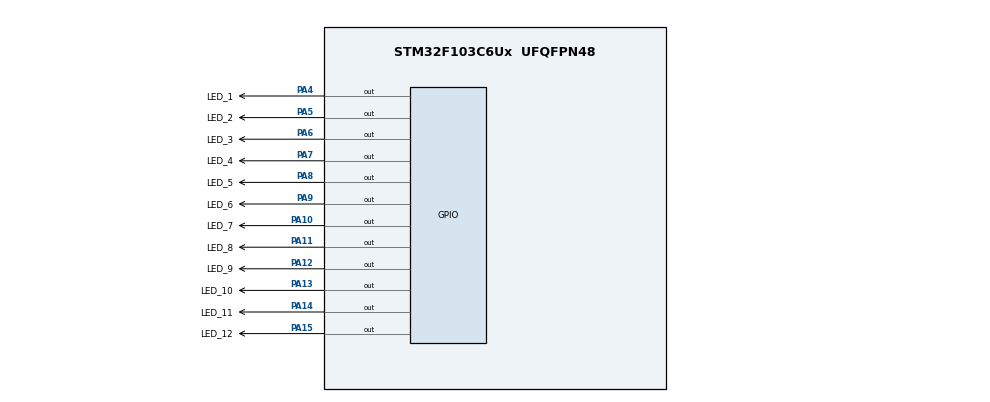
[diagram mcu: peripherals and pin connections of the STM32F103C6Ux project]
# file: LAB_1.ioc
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Mcu.Family=STM32F1
Mcu.Name=STM32F103C6Ux
Mcu.Package=UFQFPN48
NVIC.PriorityGroup=NVIC_PRIORITYGROUP_4
PA10.GPIO_Label=LED_7
PA10.Signal=GPIO_Output
PA11.GPIO_Label=LED_8
PA11.Signal=GPIO_Output
PA12.GPIO_Label=LED_9
PA12.Signal=GPIO_Output
PA13.GPIO_Label=LED_10
PA13.Signal=GPIO_Output
PA14.GPIO_Label=LED_11
PA14.Signal=GPIO_Output
PA15.GPIO_Label=LED_12
PA15.Signal=GPIO_Output
PA4.GPIO_Label=LED_1
PA4.Signal=GPIO_Output
PA5.GPIO_Label=LED_2
PA5.Signal=GPIO_Output
PA6.GPIO_Label=LED_3
PA6.Signal=GPIO_Output
PA7.GPIO_Label=LED_4
PA7.Signal=GPIO_Output
PA8.GPIO_Label=LED_5
PA8.Signal=GPIO_Output
PA9.GPIO_Label=LED_6
PA9.Signal=GPIO_Output
ProjectManager.HeapSize=0x200
ProjectManager.StackSize=0x400
ProjectManager.TargetToolchain=STM32CubeIDE
RCC.APB1Freq_Value=8000000
RCC.APB2Freq_Value=8000000
VP_SYS_VS_ND.Mode=No_Debug
board=custom

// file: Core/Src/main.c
/* USER CODE BEGIN Header */
/**
  ******************************************************************************
  * @file           : main.c
  * @brief          : Main program body
  ******************************************************************************
  * @attention
  *
  * <h2><center>&copy; Copyright (c) 2023 STMicroelectronics.
  * All rights reserved.</center></h2>
  *
  * This software component is licensed by ST under BSD 3-Clause license,
  * the "License"; You may not use this file except in compliance with the
  * License. You may obtain a copy of the License at:
  *                        opensource.org/licenses/BSD-3-Clause
  *
  ******************************************************************************
  */
/* USER CODE END Header */
#include "main.h"

void SystemClock_Config(void);
static void MX_GPIO_Init(void);

/* USER CODE BEGIN 0 */
void testLED(int num){
	// For ex6 only
	// this function is used for testing single led in a sequence
	switch (num){
		  case 1:
			  HAL_GPIO_WritePin(LED_1_GPIO_Port, LED_1_Pin, RESET);
			  HAL_GPIO_WritePin(LED_2_GPIO_Port, LED_2_Pin, SET);
			  HAL_GPIO_WritePin(LED_3_GPIO_Port, LED_3_Pin, SET);
			  HAL_GPIO_WritePin(LED_4_GPIO_Port, LED_4_Pin, SET);
			  HAL_GPIO_WritePin(LED_5_GPIO_Port, LED_5_Pin, SET);
			  HAL_GPIO_WritePin(LED_6_GPIO_Port, LED_6_Pin, SET);
			  HAL_GPIO_WritePin(LED_7_GPIO_Port, LED_7_Pin, SET);
			  HAL_GPIO_WritePin(LED_8_GPIO_Port, LED_8_Pin, SET);
			  HAL_GPIO_WritePin(LED_9_GPIO_Port, LED_9_Pin, SET);
			  HAL_GPIO_WritePin(LED_10_GPIO_Port, LED_10_Pin, SET);
			  HAL_GPIO_WritePin(LED_11_GPIO_Port, LED_11_Pin, SET);
			  HAL_GPIO_WritePin(LED_12_GPIO_Port, LED_12_Pin, SET);
			  break;
		  case 2:
			  HAL_GPIO_WritePin(LED_1_GPIO_Port, LED_1_Pin, SET);
			  HAL_GPIO_WritePin(LED_2_GPIO_Port, LED_2_Pin, RESET);
			  HAL_GPIO_WritePin(LED_3_GPIO_Port, LED_3_Pin, SET);
			  HAL_GPIO_WritePin(LED_4_GPIO_Port, LED_4_Pin, SET);
			  HAL_GPIO_WritePin(LED_5_GPIO_Port, LED_5_Pin, SET);
			  HAL_GPIO_WritePin(LED_6_GPIO_Port, LED_6_Pin, SET);
			  HAL_GPIO_WritePin(LED_7_GPIO_Port, LED_7_Pin, SET);
			  HAL_GPIO_WritePin(LED_8_GPIO_Port, LED_8_Pin, SET);
			  HAL_GPIO_WritePin(LED_9_GPIO_Port, LED_9_Pin, SET);
			  HAL_GPIO_WritePin(LED_10_GPIO_Port, LED_10_Pin, SET);
			  HAL_GPIO_WritePin(LED_11_GPIO_Port, LED_11_Pin, SET);
			  HAL_GPIO_WritePin(LED_12_GPIO_Port, LED_12_Pin, SET);
			  break;
		  case 3:
			  HAL_GPIO_WritePin(LED_1_GPIO_Port, LED_1_Pin, SET);
			  HAL_GPIO_WritePin(LED_2_GPIO_Port, LED_2_Pin, SET);
			  HAL_GPIO_WritePin(LED_3_GPIO_Port, LED_3_Pin, RESET);
			  HAL_GPIO_WritePin(LED_4_GPIO_Port, LED_4_Pin, SET);
			  HAL_GPIO_WritePin(LED_5_GPIO_Port, LED_5_Pin, SET);
			  HAL_GPIO_WritePin(LED_6_GPIO_Port, LED_6_Pin, SET);
			  HAL_GPIO_WritePin(LED_7_GPIO_Port, LED_7_Pin, SET);
			  HAL_GPIO_WritePin(LED_8_GPIO_Port, LED_8_Pin, SET);
			  HAL_GPIO_WritePin(LED_9_GPIO_Port, LED_9_Pin, SET);
			  HAL_GPIO_WritePin(LED_10_GPIO_Port, LED_10_Pin, SET);
			  HAL_GPIO_WritePin(LED_11_GPIO_Port, LED_11_Pin, SET);
			  HAL_GPIO_WritePin(LED_12_GPIO_Port, LED_12_Pin, SET);
			  break;
		  case 4:
			  HAL_GPIO_WritePin(LED_1_GPIO_Port, LED_1_Pin, SET);
			  HAL_GPIO_WritePin(LED_2_GPIO_Port, LED_2_Pin, SET);
			  HAL_GPIO_WritePin(LED_3_GPIO_Port, LED_3_Pin, SET);
			  HAL_GPIO_WritePin(LED_4_GPIO_Port, LED_4_Pin, RESET);
			  HAL_GPIO_WritePin(LED_5_GPIO_Port, LED_5_Pin, SET);
			  HAL_GPIO_WritePin(LED_6_GPIO_Port, LED_6_Pin, SET);
			  HAL_GPIO_WritePin(LED_7_GPIO_Port, LED_7_Pin, SET);
			  HAL_GPIO_WritePin(LED_8_GPIO_Port, LED_8_Pin, SET);
			  HAL_GPIO_WritePin(LED_9_GPIO_Port, LED_9_Pin, SET);
			  HAL_GPIO_WritePin(LED_10_GPIO_Port, LED_10_Pin, SET);
			  HAL_GPIO_WritePin(LED_11_GPIO_Port, LED_11_Pin, SET);
			  HAL_GPIO_WritePin(LED_12_GPIO_Port, LED_12_Pin, SET);
			  break;
		  case 5:
			  HAL_GPIO_WritePin(LED_1_GPIO_Port, LED_1_Pin, SET);
			  HAL_GPIO_WritePin(LED_2_GPIO_Port, LED_2_Pin, SET);
			  HAL_GPIO_WritePin(LED_3_GPIO_Port, LED_3_Pin, SET);
			  HAL_GPIO_WritePin(LED_4_GPIO_Port, LED_4_Pin, SET);
			  HAL_GPIO_WritePin(LED_5_GPIO_Port, LED_5_Pin, RESET);
			  HAL_GPIO_WritePin(LED_6_GPIO_Port, LED_6_Pin, SET);
			  HAL_GPIO_WritePin(LED_7_GPIO_Port, LED_7_Pin, SET);
			  HAL_GPIO_WritePin(LED_8_GPIO_Port, LED_8_Pin, SET);
			  HAL_GPIO_WritePin(LED_9_GPIO_Port, LED_9_Pin, SET);
			  HAL_GPIO_WritePin(LED_10_GPIO_Port, LED_10_Pin, SET);
			  HAL_GPIO_WritePin(LED_11_GPIO_Port, LED_11_Pin, SET);
			  HAL_GPIO_WritePin(LED_12_GPIO_Port, LED_12_Pin, SET);
			  break;
		  case 6:
			  HAL_GPIO_WritePin(LED_1_GPIO_Port, LED_1_Pin, SET);
			  HAL_GPIO_WritePin(LED_2_GPIO_Port, LED_2_Pin, SET);
			  HAL_GPIO_WritePin(LED_3_GPIO_Port, LED_3_Pin, SET);
			  HAL_GPIO_WritePin(LED_4_GPIO_Port, LED_4_Pin, SET);
			  HAL_GPIO_WritePin(LED_5_GPIO_Port, LED_5_Pin, SET);
			  HAL_GPIO_WritePin(LED_6_GPIO_Port, LED_6_Pin, RESET);
			  HAL_GPIO_WritePin(LED_7_GPIO_Port, LED_7_Pin, SET);
			  HAL_GPIO_WritePin(LED_8_GPIO_Port, LED_8_Pin, SET);
			  HAL_GPIO_WritePin(LED_9_GPIO_Port, LED_9_Pin, SET);
			  HAL_GPIO_WritePin(LED_10_GPIO_Port, LED_10_Pin, SET);
			  HAL_GPIO_WritePin(LED_11_GPIO_Port, LED_11_Pin, SET);
			  HAL_GPIO_WritePin(LED_12_GPIO_Port, LED_12_Pin, SET);
			  break;
		  case 7:
			  HAL_GPIO_WritePin(LED_1_GPIO_Port, LED_1_Pin, SET);
			  HAL_GPIO_WritePin(LED_2_GPIO_Port, LED_2_Pin, SET);
			  HAL_GPIO_WritePin(LED_3_GPIO_Port, LED_3_Pin, SET);
			  HAL_GPIO_WritePin(LED_4_GPIO_Port, LED_4_Pin, SET);
			  HAL_GPIO_WritePin(LED_5_GPIO_Port, LED_5_Pin, SET);
			  HAL_GPIO_WritePin(LED_6_GPIO_Port, LED_6_Pin, SET);
			  HAL_GPIO_WritePin(LED_7_GPIO_Port, LED_7_Pin, RESET);
			  HAL_GPIO_WritePin(LED_8_GPIO_Port, LED_8_Pin, SET);
			  HAL_GPIO_WritePin(LED_9_GPIO_Port, LED_9_Pin, SET);
			  HAL_GPIO_WritePin(LED_10_GPIO_Port, LED_10_Pin, SET);
			  HAL_GPIO_WritePin(LED_11_GPIO_Port, LED_11_Pin, SET);
			  HAL_GPIO_WritePin(LED_12_GPIO_Port, LED_12_Pin, SET);
			  break;
		  case 8:
			  HAL_GPIO_WritePin(LED_1_GPIO_Port, LED_1_Pin, SET);
			  HAL_GPIO_WritePin(LED_2_GPIO_Port, LED_2_Pin, SET);
			  HAL_GPIO_WritePin(LED_3_GPIO_Port, LED_3_Pin, SET);
			  HAL_GPIO_WritePin(LED_4_GPIO_Port, LED_4_Pin, SET);
			  HAL_GPIO_WritePin(LED_5_GPIO_Port, LED_5_Pin, SET);
			  HAL_GPIO_WritePin(LED_6_GPIO_Port, LED_6_Pin, SET);
			  HAL_GPIO_WritePin(LED_7_GPIO_Port, LED_7_Pin, SET);
			  HAL_GPIO_WritePin(LED_8_GPIO_Port, LED_8_Pin, RESET);
			  HAL_GPIO_WritePin(LED_9_GPIO_Port, LED_9_Pin, SET);
			  HAL_GPIO_WritePin(LED_10_GPIO_Port, LED_10_Pin, SET);
			  HAL_GPIO_WritePin(LED_11_GPIO_Port, LED_11_Pin, SET);
			  HAL_GPIO_WritePin(LED_12_GPIO_Port, LED_12_Pin, SET);
			  break;
		  case 9:
			  HAL_GPIO_WritePin(LED_1_GPIO_Port, LED_1_Pin, SET);
			  HAL_GPIO_WritePin(LED_2_GPIO_Port, LED_2_Pin, SET);
			  HAL_GPIO_WritePin(LED_3_GPIO_Port, LED_3_Pin, SET);
			  HAL_GPIO_WritePin(LED_4_GPIO_Port, LED_4_Pin, SET);
			  HAL_GPIO_WritePin(LED_5_GPIO_Port, LED_5_Pin, SET);
			  HAL_GPIO_WritePin(LED_6_GPIO_Port, LED_6_Pin, SET);
			  HAL_GPIO_WritePin(LED_7_GPIO_Port, LED_7_Pin, SET);
			  HAL_GPIO_WritePin(LED_8_GPIO_Port, LED_8_Pin, SET);
			  HAL_GPIO_WritePin(LED_9_GPIO_Port, LED_9_Pin, RESET);
			  HAL_GPIO_WritePin(LED_10_GPIO_Port, LED_10_Pin, SET);
			  HAL_GPIO_WritePin(LED_11_GPIO_Port, LED_11_Pin, SET);
			  HAL_GPIO_WritePin(LED_12_GPIO_Port, LED_12_Pin, SET);
			  break;
		  case 10:
			  HAL_GPIO_WritePin(LED_1_GPIO_Port, LED_1_Pin, SET);
			  HAL_GPIO_WritePin(LED_2_GPIO_Port, LED_2_Pin, SET);
			  HAL_GPIO_WritePin(LED_3_GPIO_Port, LED_3_Pin, SET);
			  HAL_GPIO_WritePin(LED_4_GPIO_Port, LED_4_Pin, SET);
			  HAL_GPIO_WritePin(LED_5_GPIO_Port, LED_5_Pin, SET);
			  HAL_GPIO_WritePin(LED_6_GPIO_Port, LED_6_Pin, SET);
			  HAL_GPIO_WritePin(LED_7_GPIO_Port, LED_7_Pin, SET);
			  HAL_GPIO_WritePin(LED_8_GPIO_Port, LED_8_Pin, SET);
			  HAL_GPIO_WritePin(LED_9_GPIO_Port, LED_9_Pin, SET);
			  HAL_GPIO_WritePin(LED_10_GPIO_Port, LED_10_Pin, RESET);
			  HAL_GPIO_WritePin(LED_11_GPIO_Port, LED_11_Pin, SET);
			  HAL_GPIO_WritePin(LED_12_GPIO_Port, LED_12_Pin, SET);
			  break;
		  case 11:
			  HAL_GPIO_WritePin(LED_1_GPIO_Port, LED_1_Pin, SET);
			  HAL_GPIO_WritePin(LED_2_GPIO_Port, LED_2_Pin, SET);
			  HAL_GPIO_WritePin(LED_3_GPIO_Port, LED_3_Pin, SET);
			  HAL_GPIO_WritePin(LED_4_GPIO_Port, LED_4_Pin, SET);
			  HAL_GPIO_WritePin(LED_5_GPIO_Port, LED_5_Pin, SET);
			  HAL_GPIO_WritePin(LED_6_GPIO_Port, LED_6_Pin, SET);
			  HAL_GPIO_WritePin(LED_7_GPIO_Port, LED_7_Pin, SET);
			  HAL_GPIO_WritePin(LED_8_GPIO_Port, LED_8_Pin, SET);
			  HAL_GPIO_WritePin(LED_9_GPIO_Port, LED_9_Pin, SET);
			  HAL_GPIO_WritePin(LED_10_GPIO_Port, LED_10_Pin, SET);
			  HAL_GPIO_WritePin(LED_11_GPIO_Port, LED_11_Pin, RESET);
			  HAL_GPIO_WritePin(LED_12_GPIO_Port, LED_12_Pin, SET);
			  break;
		  case 0:
			  HAL_GPIO_WritePin(LED_1_GPIO_Port, LED_1_Pin, SET);
			  HAL_GPIO_WritePin(LED_2_GPIO_Port, LED_2_Pin, SET);
			  HAL_GPIO_WritePin(LED_3_GPIO_Port, LED_3_Pin, SET);
			  HAL_GPIO_WritePin(LED_4_GPIO_Port, LED_4_Pin, SET);
			  HAL_GPIO_WritePin(LED_5_GPIO_Port, LED_5_Pin, SET);
			  HAL_GPIO_WritePin(LED_6_GPIO_Port, LED_6_Pin, SET);
			  HAL_GPIO_WritePin(LED_7_GPIO_Port, LED_7_Pin, SET);
			  HAL_GPIO_WritePin(LED_8_GPIO_Port, LED_8_Pin, SET);
			  HAL_GPIO_WritePin(LED_9_GPIO_Port, LED_9_Pin, SET);
			  HAL_GPIO_WritePin(LED_10_GPIO_Port, LED_10_Pin, SET);
			  HAL_GPIO_WritePin(LED_11_GPIO_Port, LED_11_Pin, SET);
			  HAL_GPIO_WritePin(LED_12_GPIO_Port, LED_12_Pin, RESET);
			  break;
		  default:
			  break;
		  }

}

void clearAllClock(){
	//For ex7
	HAL_GPIO_WritePin(LED_1_GPIO_Port, LED_1_Pin, SET);
	HAL_GPIO_WritePin(LED_2_GPIO_Port, LED_2_Pin, SET);
	HAL_GPIO_WritePin(LED_3_GPIO_Port, LED_3_Pin, SET);
	HAL_GPIO_WritePin(LED_4_GPIO_Port, LED_4_Pin, SET);
	HAL_GPIO_WritePin(LED_5_GPIO_Port, LED_5_Pin, SET);
	HAL_GPIO_WritePin(LED_6_GPIO_Port, LED_6_Pin, SET);
	HAL_GPIO_WritePin(LED_7_GPIO_Port, LED_7_Pin, SET);
	HAL_GPIO_WritePin(LED_8_GPIO_Port, LED_8_Pin, SET);
	HAL_GPIO_WritePin(LED_9_GPIO_Port, LED_9_Pin, SET);
	HAL_GPIO_WritePin(LED_10_GPIO_Port, LED_10_Pin, SET);
	HAL_GPIO_WritePin(LED_11_GPIO_Port, LED_11_Pin, SET);
	HAL_GPIO_WritePin(LED_12_GPIO_Port, LED_12_Pin, SET);
}

void setNumberOnClock(int num){
	// For ex8
	switch (num){
	case 1:
		HAL_GPIO_WritePin(LED_1_GPIO_Port, LED_1_Pin, RESET);
		break;
	case 2:
		HAL_GPIO_WritePin(LED_2_GPIO_Port, LED_2_Pin, RESET);
		break;
	case 3:
		HAL_GPIO_WritePin(LED_3_GPIO_Port, LED_3_Pin, RESET);
		break;
	case 4:
		HAL_GPIO_WritePin(LED_4_GPIO_Port, LED_4_Pin, RESET);
		break;
	case 5:
		HAL_GPIO_WritePin(LED_5_GPIO_Port, LED_5_Pin, RESET);
		break;
	case 6:
		HAL_GPIO_WritePin(LED_6_GPIO_Port, LED_6_Pin, RESET);
		break;
	case 7:
		HAL_GPIO_WritePin(LED_7_GPIO_Port, LED_7_Pin, RESET);
		break;
	case 8:
		HAL_GPIO_WritePin(LED_8_GPIO_Port, LED_8_Pin, RESET);
		break;
	case 9:
		HAL_GPIO_WritePin(LED_9_GPIO_Port, LED_9_Pin, RESET);
		break;
	case 10:
		HAL_GPIO_WritePin(LED_10_GPIO_Port, LED_10_Pin, RESET);
		break;
	case 11:
		HAL_GPIO_WritePin(LED_11_GPIO_Port, LED_11_Pin, RESET);
		break;
	case 0:
		HAL_GPIO_WritePin(LED_12_GPIO_Port, LED_12_Pin, RESET);
		break;
	default:
		break;
	}
}
void clearNumberOnClock(int num){
	//for ex9
	switch (num){
	case 1:
		HAL_GPIO_WritePin(LED_1_GPIO_Port, LED_1_Pin, SET);
		break;
	case 2:
		HAL_GPIO_WritePin(LED_2_GPIO_Port, LED_2_Pin, SET);
		break;
	case 3:
		HAL_GPIO_WritePin(LED_3_GPIO_Port, LED_3_Pin, SET);
		break;
	case 4:
		HAL_GPIO_WritePin(LED_4_GPIO_Port, LED_4_Pin, SET);
		break;
	case 5:
		HAL_GPIO_WritePin(LED_5_GPIO_Port, LED_5_Pin, SET);
		break;
	case 6:
		HAL_GPIO_WritePin(LED_6_GPIO_Port, LED_6_Pin, SET);
		break;
	case 7:
		HAL_GPIO_WritePin(LED_7_GPIO_Port, LED_7_Pin, SET);
		break;
	case 8:
		HAL_GPIO_WritePin(LED_8_GPIO_Port, LED_8_Pin, SET);
		break;
	case 9:
		HAL_GPIO_WritePin(LED_9_GPIO_Port, LED_9_Pin, SET);
		break;
	case 10:
		HAL_GPIO_WritePin(LED_10_GPIO_Port, LED_10_Pin, SET);
		break;
	case 11:
		HAL_GPIO_WritePin(LED_11_GPIO_Port, LED_11_Pin, SET);
		break;
	case 0:
		HAL_GPIO_WritePin(LED_12_GPIO_Port, LED_12_Pin, SET);
		break;
	default:
		break;

	}
}

/* USER CODE END 0 */

int main(void)
{

  /* MCU Configuration--------------------------------------------------------*/

  /* Reset of all peripherals, Initializes the Flash interface and the Systick. */
  HAL_Init();

  /* Configure the system clock */
  SystemClock_Config();

  /* Initialize all configured peripherals */
  MX_GPIO_Init();
  /* USER CODE BEGIN 2 */
  clearAllClock();
  int second = 0;
  int minute = 58;
  int hour = 3;
  setNumberOnClock(second /5);
  setNumberOnClock(minute /5);
  setNumberOnClock(hour);
  /* USER CODE END 2 */

  /* Infinite loop */
  /* USER CODE BEGIN WHILE */
  while (1)
  {
	  // TODO ex10
	  if (second >= 60){
		  second = 0;
		  minute++;
		  if ((minute -1) /5 != (minute /5)) clearNumberOnClock((minute - 1)/5);
		  setNumberOnClock(minute /5);
	  }
	  if (minute >= 60){
		  hour++;
		  minute = 0;
		  if (hour != 12) clearNumberOnClock(hour - 1);
		  setNumberOnClock(hour);

	  }
	  if (hour >= 12)
	  {
		  hour = 0;
	  }
	  second++;
	  if (second /5 != (second-1)/5 && (second-1)/5 != minute/5 && (second -1)/5 != hour) clearNumberOnClock(second/5 -1);
	  setNumberOnClock(second/5);
	  HAL_Delay(1000);
    /* USER CODE END WHILE */

  }
}

void SystemClock_Config(void)
{
  RCC_OscInitTypeDef RCC_OscInitStruct = {0};
  RCC_ClkInitTypeDef RCC_ClkInitStruct = {0};

  /** Initializes the RCC Oscillators according to the specified parameters
  * in the RCC_OscInitTypeDef structure.
  */
  RCC_OscInitStruct.OscillatorType = RCC_OSCILLATORTYPE_HSI;
  RCC_OscInitStruct.HSIState = RCC_HSI_ON;
  RCC_OscInitStruct.HSICalibrationValue = RCC_HSICALIBRATION_DEFAULT;
  RCC_OscInitStruct.PLL.PLLState = RCC_PLL_NONE;
  if (HAL_RCC_OscConfig(&RCC_OscInitStruct) != HAL_OK)
  {
    Error_Handler();
  }
  /** Initializes the CPU, AHB and APB buses clocks
  */
  RCC_ClkInitStruct.ClockType = RCC_CLOCKTYPE_HCLK|RCC_CLOCKTYPE_SYSCLK
                              |RCC_CLOCKTYPE_PCLK1|RCC_CLOCKTYPE_PCLK2;
  RCC_ClkInitStruct.SYSCLKSource = RCC_SYSCLKSOURCE_HSI;
  RCC_ClkInitStruct.AHBCLKDivider = RCC_SYSCLK_DIV1;
  RCC_ClkInitStruct.APB1CLKDivider = RCC_HCLK_DIV1;
  RCC_ClkInitStruct.APB2CLKDivider = RCC_HCLK_DIV1;

  if (HAL_RCC_ClockConfig(&RCC_ClkInitStruct, FLASH_LATENCY_0) != HAL_OK)
  {
    Error_Handler();
  }
}

static void MX_GPIO_Init(void)
{
  GPIO_InitTypeDef GPIO_InitStruct = {0};

  /* GPIO Ports Clock Enable */
  __HAL_RCC_GPIOA_CLK_ENABLE();

  /*Configure GPIO pin Output Level */
  HAL_GPIO_WritePin(GPIOA, LED_1_Pin|LED_2_Pin|LED_3_Pin|LED_4_Pin
                          |LED_5_Pin|LED_6_Pin|LED_7_Pin|LED_8_Pin
                          |LED_9_Pin|LED_10_Pin|LED_11_Pin|LED_12_Pin, GPIO_PIN_RESET);

  /*Configure GPIO pins : LED_1_Pin LED_2_Pin LED_3_Pin LED_4_Pin
                           LED_5_Pin LED_6_Pin LED_7_Pin LED_8_Pin
                           LED_9_Pin LED_10_Pin LED_11_Pin LED_12_Pin */
  GPIO_InitStruct.Pin = LED_1_Pin|LED_2_Pin|LED_3_Pin|LED_4_Pin
                          |LED_5_Pin|LED_6_Pin|LED_7_Pin|LED_8_Pin
                          |LED_9_Pin|LED_10_Pin|LED_11_Pin|LED_12_Pin;
  GPIO_InitStruct.Mode = GPIO_MODE_OUTPUT_PP;
  GPIO_InitStruct.Pull = GPIO_NOPULL;
  GPIO_InitStruct.Speed = GPIO_SPEED_FREQ_LOW;
  HAL_GPIO_Init(GPIOA, &GPIO_InitStruct);

}

void Error_Handler(void)
{
  __disable_irq();
  while (1)
  {
  }
}

/************************ (C) COPYRIGHT STMicroelectronics *****END OF FILE****/
